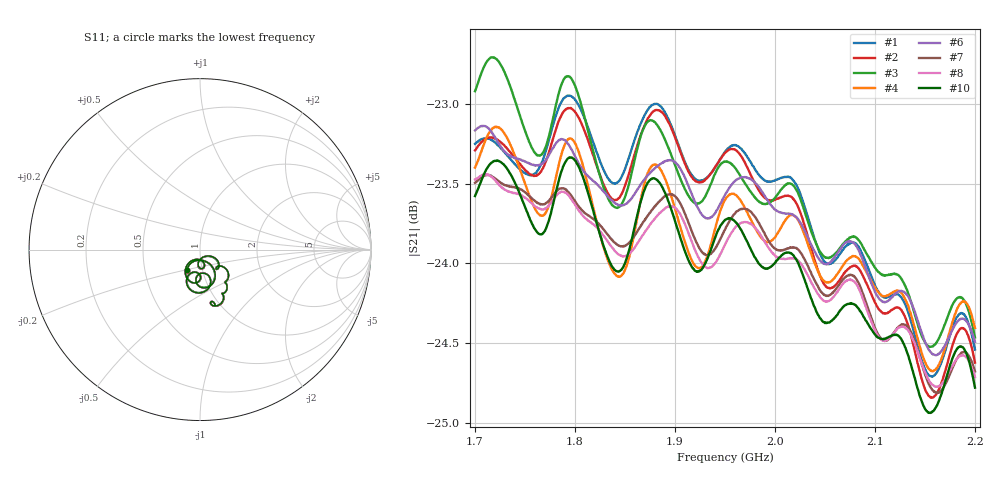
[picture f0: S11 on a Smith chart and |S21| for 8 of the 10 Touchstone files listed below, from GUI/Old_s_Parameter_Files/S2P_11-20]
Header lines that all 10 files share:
# Hz S RI R 50
! CMT, CMT808U, 21440046, 21.4.3/4
! Data: Format (Calibration Info)
! Freq	S11:Re/Im(F2)	S41:Re/Im(F2)	S14:Re/Im(F2)	S44:Re/Im(F2)
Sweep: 1.7 GHz to 2.2 GHz
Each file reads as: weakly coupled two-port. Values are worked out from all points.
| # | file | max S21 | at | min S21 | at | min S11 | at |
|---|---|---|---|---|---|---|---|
| 1 | Port2.s2p | -22.95 dB | 1.792 GHz | -24.7 dB | 2.158 GHz | -26.2 dB | 1.972 GHz |
| 2 | Port3.s2p | -23.03 dB | 1.796 GHz | -24.8 dB | 2.157 GHz | -26.2 dB | 1.972 GHz |
| 3 | Port5.s2p | -22.71 dB | 1.718 GHz | -24.5 dB | 2.155 GHz | -26.2 dB | 1.972 GHz |
| 4 | Port8.s2p | -23.14 dB | 1.722 GHz | -24.7 dB | 2.158 GHz | -26.4 dB | 1.972 GHz |
| 5 | Port9.s2p | -22.84 dB | 1.718 GHz | -24.6 dB | 2.158 GHz | -27.2 dB | 1.972 GHz |
| 6 | Port10.s2p | -23.14 dB | 1.708 GHz | -24.6 dB | 2.162 GHz | -26.4 dB | 1.972 GHz |
| 7 | Port11.s2p | -23.44 dB | 1.714 GHz | -24.8 dB | 2.163 GHz | -26.6 dB | 1.972 GHz |
| 8 | Port12.s2p | -23.44 dB | 1.71 GHz | -24.8 dB | 2.162 GHz | -26.6 dB | 1.972 GHz |
| 9 | Port15.s2p | -23.24 dB | 1.795 GHz | -24.8 dB | 2.155 GHz | -26.5 dB | 1.972 GHz |
| 10 | Port16.s2p | -23.34 dB | 1.795 GHz | -24.9 dB | 2.155 GHz | -26.4 dB | 1.972 GHz |
